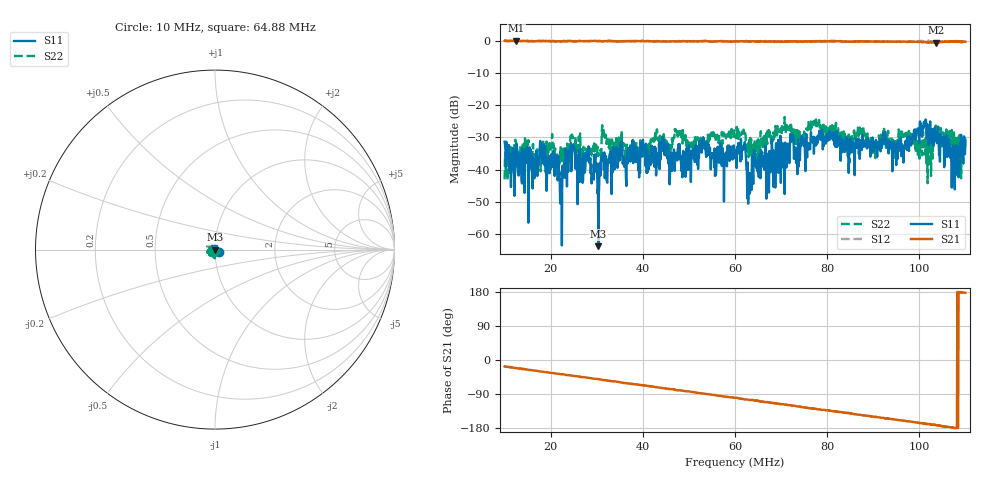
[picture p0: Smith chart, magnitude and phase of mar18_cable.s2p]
! Anritsu VNA Master:  Model: MS2036C/10/77
! SN:  1601066
! /card0/usr/mar18_cable.s2p
! Existing Calibration Information:
! TYPE:  Current Settings,  Active Cal Settings
! TIME:  03/18/2016 01:35:35 PM,  03/18/2016 01:23:09 PM
! INTERNAL TEMP:  47.8 C,  46.8 C
! # POINTS:  1087,  1087
! START FREQ:  10.000 MHz,  5.000 kHz
! STOP FREQ:  110.000 MHz,  6.000 GHz
! SOURCE POWER:  Low,  Low
! IFBW:  1 kHz,  1 kHz
! AVG FACTOR:  1 ,  1
! REF PLANE 1:  -6.095 mm,  -6.095 mm
! REF PLANE 2:  0 mm,  0 mm
! CAL TYPE:  Full 2 Port,  Full 2 Port
! CAL METHOD:  SOLT,  SOLT
! CAL LINE TYPE:  Coax,  Coax
! DUT PORT 1:  K-Conn(M),  K-Conn(M)
! DUT PORT 2:  N-Conn(M),  N-Conn(M)
! CAL STATUS:  OK: Accuracy High,  --
# GHZ S MA R 50.0
! FREQ.GHZ  S11M  S11A  S21M  S21A  S12M  S12A  S22M  S22A
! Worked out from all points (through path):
!   1087 points, 10 MHz to 110 MHz, reference 50 ohm
!   highest |S21| = 0.03 dB at 12.58 MHz (marker M1); lowest = -0.7 dB at 103.6 MHz (marker M2)
!   group delay of S21, straight-line fit = 4.59 ns
!   lowest |S11| = -63.8 dB at 30.35 MHz (marker M3), VSWR 1.00, Z = 50 - j0.0596 ohm
!   |S11| at or under -10 dB: start of sweep to end of sweep
!   |S22| runs from -44.2 to -23.7 dB; largest |S21 - S12| = 0.077
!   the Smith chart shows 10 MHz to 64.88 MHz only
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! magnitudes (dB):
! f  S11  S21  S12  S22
! 10 MHz  -31.4  0.0  -0.1  -43.0
! 12.58 MHz  -32.0  0.0  -0.1  -33.3
! 18.1 MHz  -35.9  -0.1  -0.1  -37.6
! 20.96 MHz  -35.4  -0.2  -0.1  -33.4
! 21.97 MHz  -43.8  -0.3  -0.1  -37.7
! 24.73 MHz  -33.7  -0.2  -0.3  -30.2
! 26.67 MHz  -36.6  -0.1  -0.2  -34.8
! 28.14 MHz  -37.3  -0.1  -0.1  -34.4
! 30.35 MHz  -63.8  -0.2  -0.2  -35.0
! 31.55 MHz  -40.2  -0.2  -0.2  -28.8
! 33.94 MHz  -33.9  -0.1  -0.2  -34.7
! 43.43 MHz  -36.1  -0.2  -0.2  -31.1
! 60 MHz  -34.6  -0.2  -0.2  -28.7
! 61.93 MHz  -32.4  -0.2  -0.3  -28.0
! 63.13 MHz  -43.3  -0.4  -0.4  -33.0
! 64.14 MHz  -34.0  -0.3  -0.3  -38.7
! 76.67 MHz  -31.0  -0.3  -0.2  -26.9
! 93.43 MHz  -31.9  -0.3  -0.3  -33.5
! 101.6 MHz  -30.3  -0.5  0.0  -27.7
! 103.6 MHz  -29.6  -0.7  -0.1  -30.2
! 107.2 MHz  -33.1  -0.4  -0.3  -33.5
! 110 MHz  -31.0  -0.3  -0.4  -33.2
